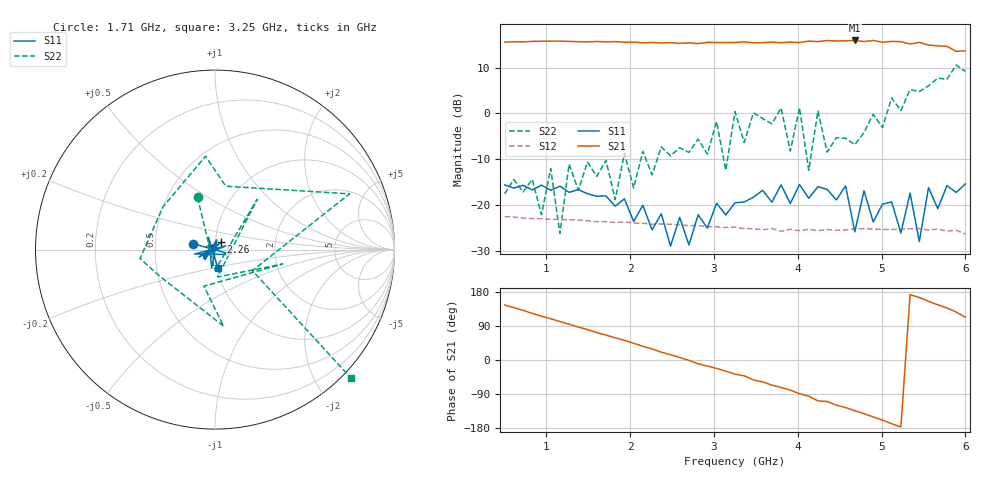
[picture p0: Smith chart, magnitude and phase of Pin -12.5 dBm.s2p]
! RsaToolbox (C) 2015 Rohde & Schwarz America
! Number of points: 51
! Number of ports: 2
! Balanced ports?: No
# Hz S RI R 50
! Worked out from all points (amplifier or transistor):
!   51 points, 500 MHz to 6 GHz, reference 50 ohm
!   highest |S21| = 15.9 dB at 4.68 GHz (marker M1)
!   |S21| within 3 dB of that: start of sweep to end of sweep
!   unconditionally stable (mu >= 1): start of sweep to 3.004 GHz; 3.046 GHz to 3.219 GHz; 4.29 GHz to 4.796 GHz (the widest 3 of 6)
!   at 1.38 GHz: K = 1.35, MAG = 15.9 dB, |S12| = -23.3 dB
!   at 3.25 GHz: K = 0.10, MSG = 20.2 dB, |S12| = -24.8 dB
!   at 6 GHz: K = -14.85, MSG = 20.0 dB, |S12| = -26.4 dB
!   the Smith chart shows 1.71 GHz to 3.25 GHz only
!   S11 on the Smith chart (normalised r, x): 1.71 GHz: 0.78, +0.05; 2.26 GHz: 1.07, +0.09; 3.25 GHz: 1.01, -0.21
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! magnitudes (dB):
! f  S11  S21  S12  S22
! 500 MHz  -15.6  15.5  -22.6  -17.6
! 940 MHz  -15.7  15.7  -23.0  -22.1
! 1.05 GHz  -16.8  15.8  -23.1  -12.0
! 1.16 GHz  -15.9  15.8  -23.2  -26.2
! 1.27 GHz  -17.3  15.7  -23.2  -11.1
! 1.49 GHz  -17.6  15.6  -23.5  -10.7
! 1.71 GHz  -18.0  15.6  -23.7  -10.3
! 2.26 GHz  -25.5  15.5  -24.2  -13.4
! 2.37 GHz  -21.9  15.4  -24.2  -7.3
! 2.7 GHz  -28.7  15.4  -24.5  -8.5
! 3.03 GHz  -19.6  15.5  -24.8  -1.8
! 3.14 GHz  -22.2  15.5  -24.9  -12.4
! 3.25 GHz  -19.5  15.5  -24.8  0.4
! 3.91 GHz  -19.7  15.5  -25.3  -8.2
! 4.02 GHz  -15.6  15.5  -25.6  1.2
! 4.13 GHz  -18.5  15.8  -25.3  -12.4
! 4.24 GHz  -16.0  15.7  -25.6  0.5
! 4.68 GHz  -25.9  15.9  -25.2  -6.9
! 5.12 GHz  -19.3  15.7  -25.4  3.4
! 5.45 GHz  -28.0  15.5  -25.2  4.8
! 5.56 GHz  -16.2  14.9  -25.5  6.0
! 6 GHz  -15.4  13.7  -26.4  9.1
